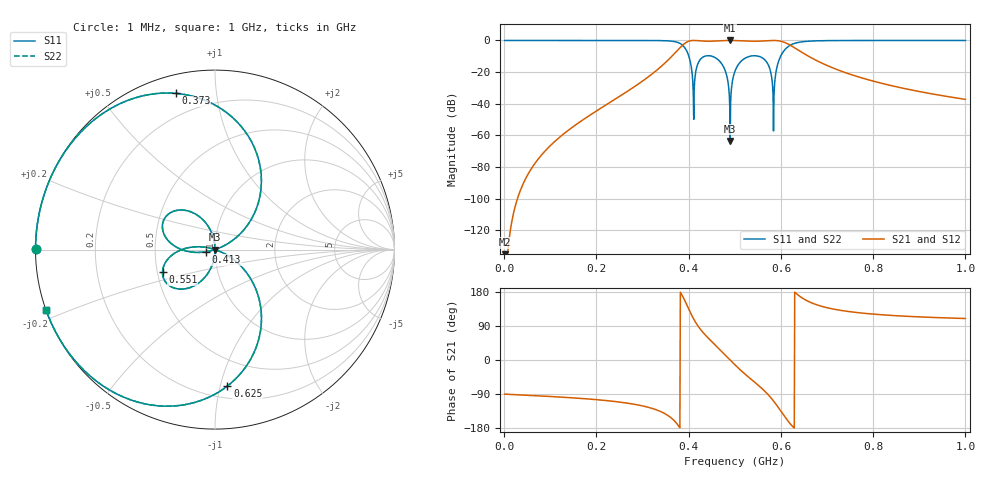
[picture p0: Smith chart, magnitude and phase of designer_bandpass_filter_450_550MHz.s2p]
! Touchstone file exported from Circuit Design 2018.2.0
!  File:  C:/Users/JH218595/Documents/scikit-rf/doc/source/examples/circuit/examples_circuits.aedt
!  Generated:  9:41:29  avr. 28, 2019
!  Design:  bandpass filter 450 to 550 MHz
!  Project:  examples_circuits
!  Setup:  LinearFrequency
!  Solution:  LinearFrequency
! Variables:
!  C1 = 25.406pF
!  C2 = 2.419pF
!  C3 = 25.406pF
!  L1 = 4.154nH
!  L2 = 43.636nH
!  L3 = 4.154nH
# GHZ S MA R 50.000000
! Modal data exported
! Port[1] = Port1
! Port[2] = Port2
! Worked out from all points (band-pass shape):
!   1000 points, 1 MHz to 1 GHz, reference 50 ohm
!   highest |S21| = 0.00 dB at 490 MHz (marker M1); lowest = -187.7 dB at 1 MHz (marker M2)
!   |S21| within 3 dB of the highest: 386.9 MHz to 620.3 MHz (233.4 MHz wide, 46.3 % of centre)
!   lowest |S11| = -63.4 dB at 490 MHz (marker M3), VSWR 1.00, Z = 50 - j0.0673 ohm
!   |S11| at or under -10 dB: 400.4 MHz to 434.8 MHz (34.41 MHz wide, 8.24 % of centre); 450.7 MHz to 532.7 MHz (82.01 MHz wide, 16.7 % of centre); 551.8 MHz to 599.4 MHz (47.62 MHz wide, 8.27 % of centre)
!   |S22| runs from -63.4 to 0.0 dB; largest |S21 - S12| = 1.7e-14
!   S11 on the Smith chart (normalised r, x): 1 MHz: -0.00, +0.00; 373 MHz: 0.09, +0.78; 413 MHz: 0.90, -0.02; 551 MHz: 0.53, -0.15; 625 MHz: 0.29, -1.05; 1 GHz: 0.00, -0.17
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0.001  1 179.9  4.142e-10 -90.1  4.142e-10 -90.1  1 179.9
! Port Impedance50 0 50 0
0.06  1 176.4  9.379e-05 -93.6  9.379e-05 -93.6  1 176.4
0.168  1 168.5  0.002913 -101.5  0.002913 -101.5  1 168.5
0.334  0.9921 136.7  0.1253 -133.3  0.1253 -133.3  0.9921 136.7
0.373  0.8977 104.1  0.4407 -165.9  0.4407 -165.9  0.8977 104.1
0.396  0.4598 55.8  0.888 145.8  0.888 145.8  0.4598 55.8
0.408  0.07752 24.8  0.997 114.8  0.997 114.8  0.07752 24.8
0.413  0.05142 -166.3  0.9987 103.7  0.9987 103.7  0.05142 -166.3
0.425  0.2482 171.9  0.9687 81.9  0.9687 81.9  0.2482 171.9
0.453  0.308 135.1  0.9514 45.1  0.9514 45.1  0.308 135.1
0.476  0.1428 107.2  0.9898 17.2  0.9898 17.2  0.1428 107.2
0.49  0.0006731 -90.1  1 -0.1  1 -0.1  0.0006731 -90.1
0.501  0.1121 -103.4  0.9937 -13.4  0.9937 -13.4  0.1121 -103.4
0.521  0.2674 -125.9  0.9636 -35.9  0.9636 -35.9  0.2674 -125.9
0.551  0.3184 -156.7  0.948 -66.7  0.948 -66.7  0.3184 -156.7
0.572  0.177 179.0  0.9842 -91.0  0.9842 -91.0  0.177 179.0
0.584  0.001379 161.9  1 -108.1  1 -108.1  0.001379 161.9
0.599  0.308 -43.4  0.9514 -133.4  0.9514 -133.4  0.308 -43.4
0.625  0.7635 -84.8  0.6458 -174.8  0.6458 -174.8  0.7635 -84.8
0.667  0.9605 -119.5  0.2781 150.5  0.2781 150.5  0.9605 -119.5
0.834  0.9992 -151.9  0.03903 118.1  0.03903 118.1  0.9992 -151.9
1  0.9999 -160.5  0.01376 109.5  0.01376 109.5  0.9999 -160.5
